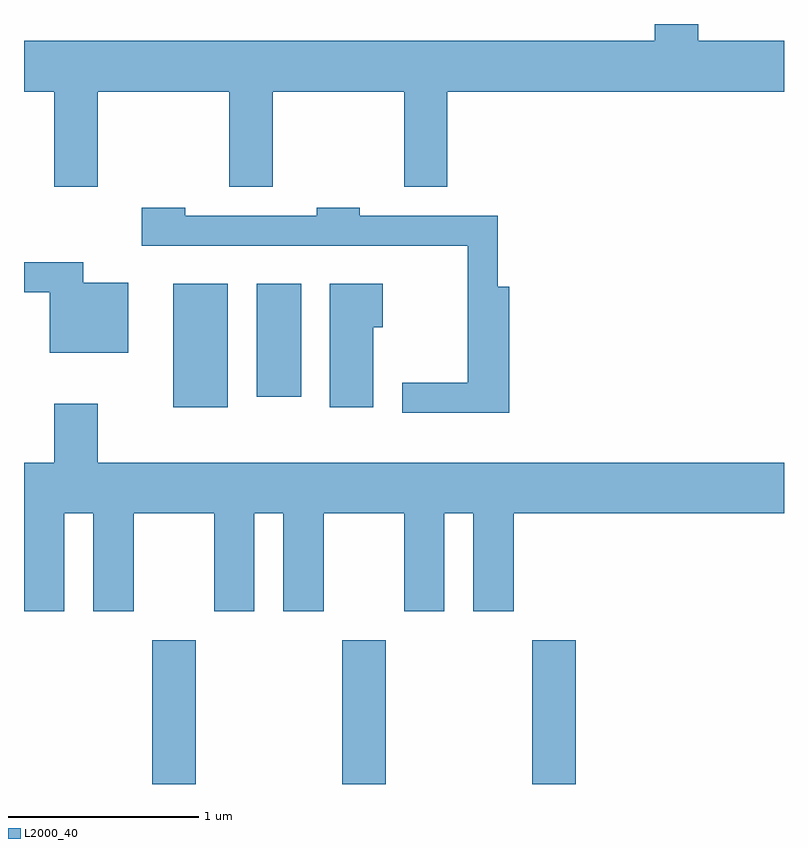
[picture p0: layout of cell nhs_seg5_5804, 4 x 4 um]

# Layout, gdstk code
import gdstk
lib = gdstk.Library(unit=1e-6, precision=1e-09)
def R(c, l, rs):  # rectangles x0, y0, x1, y1
    for r in rs: c.add(gdstk.rectangle(r[:2], r[2:], *l))
def A(c, l, x, y, w, h, nx, ny, dx, dy):  # array of equal rectangles
    R(c, l, [(x+i*dx, y+j*dy, x+i*dx+w, y+j*dy+h) for i in range(nx) for j in range(ny)])
def P(c, l, *ps):  # polygons
    for p in ps: c.add(gdstk.Polygon(p, *l))
L2000_40 = (2000, 40)

nhs_seg5_5804 = lib.new_cell('nhs_seg5_5804')
A(nhs_seg5_5804, L2000_40, 358.286, 1422.072, 0.228, 0.757, 3, 1, 1, 0)
R(nhs_seg5_5804, L2000_40, [(358.396,1424.056,358.684,1424.704), (358.836,1424.111,359.069,1424.704)])
P(nhs_seg5_5804, L2000_40, [(357.999,1425.716),(358.691,1425.716),(358.691,1425.216),(358.919,1425.216),(358.919,1425.716),(359.611,1425.716),(359.611,1425.216),(359.839,1425.216),(359.839,1425.716),(361.611,1425.716),(361.611,1425.984),(361.159,1425.984),(361.159,1426.072),(360.931,1426.072),(360.931,1425.984),(357.611,1425.984),(357.611,1425.716),(357.771,1425.716),(357.771,1425.216),(357.999,1425.216)],
  [(360.164,1424.689),(360.104,1424.689),(360.104,1425.064),(359.379,1425.064),(359.379,1425.104),(359.151,1425.104),(359.151,1425.064),(358.459,1425.064),(358.459,1425.104),(358.231,1425.104),(358.231,1424.906),(359.946,1424.906),(359.946,1424.184),(359.603,1424.184),(359.603,1424.026),(360.164,1424.026)],
  [(358.159,1424.709),(357.924,1424.709),(357.924,1424.819),(357.611,1424.819),(357.611,1424.661),(357.746,1424.661),(357.746,1424.341),(358.159,1424.341)],
  [(359.449,1424.476),(359.499,1424.476),(359.499,1424.704),(359.221,1424.704),(359.221,1424.056),(359.449,1424.056)],
  [(357.824,1423.496),(357.976,1423.496),(357.976,1422.981),(358.189,1422.981),(358.189,1423.496),(358.611,1423.496),(358.611,1422.981),(358.824,1422.981),(358.824,1423.496),(358.976,1423.496),(358.976,1422.981),(359.189,1422.981),(359.189,1423.496),(359.611,1423.496),(359.611,1422.981),(359.824,1422.981),(359.824,1423.496),(359.976,1423.496),(359.976,1422.981),(360.189,1422.981),(360.189,1423.496),(361.611,1423.496),(361.611,1423.764),(357.999,1423.764),(357.999,1424.074),(357.771,1424.074),(357.771,1423.764),(357.611,1423.764),(357.611,1422.981),(357.824,1422.981)])

lib.write_gds('nhs_seg5_5804.gds')
